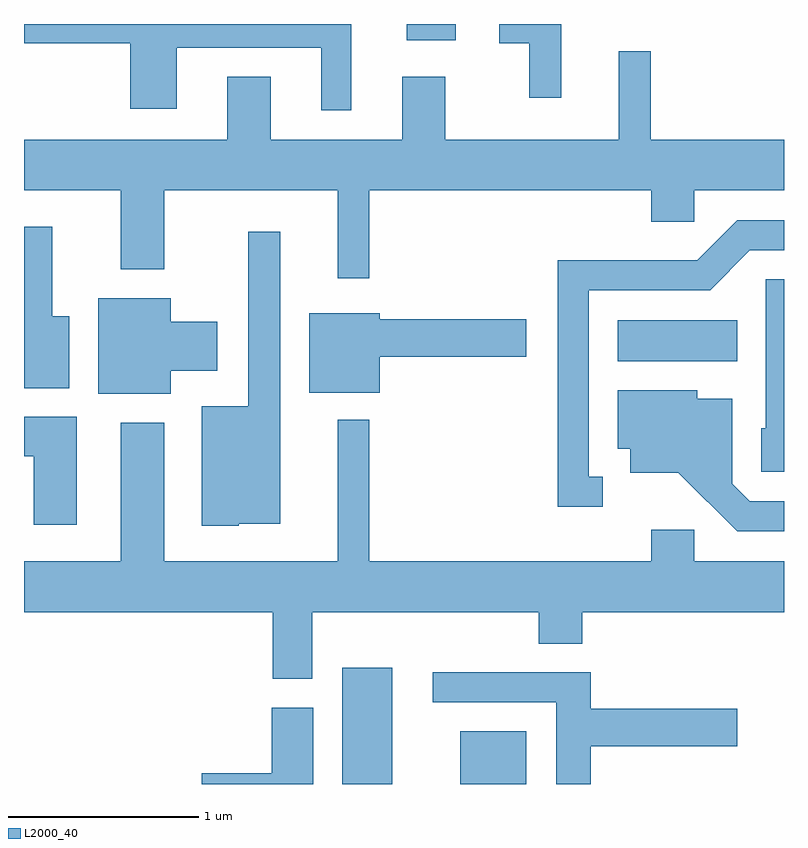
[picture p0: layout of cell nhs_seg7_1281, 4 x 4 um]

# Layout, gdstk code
import gdstk
lib = gdstk.Library(unit=1e-6, precision=1e-09)
def R(c, l, rs):  # rectangles x0, y0, x1, y1
    for r in rs: c.add(gdstk.rectangle(r[:2], r[2:], *l))
def P(c, l, *ps):  # polygons
    for p in ps: c.add(gdstk.Polygon(p, *l))
L2000_40 = (2000, 40)

nhs_seg7_1281 = lib.new_cell('nhs_seg7_1281')
R(nhs_seg7_1281, L2000_40, [(225.286,1762.252,225.549,1762.864), (225.906,1762.252,226.254,1762.529), (226.736,1764.476,227.364,1764.694)])
P(nhs_seg7_1281, L2000_40, [(225.884,1766.252),(225.486,1766.252),(225.486,1766.251),(225.626,1766.251),(225.626,1766.166),(225.884,1766.166)],
  [(225.334,1766.252),(223.611,1766.252),(223.611,1766.151),(224.171,1766.151),(224.171,1765.806),(224.414,1765.806),(224.414,1766.126),(225.176,1766.126),(225.176,1765.798),(225.334,1765.798)],
  [(226.439,1766.252),(226.111,1766.252),(226.111,1766.151),(226.271,1766.151),(226.271,1765.863),(226.439,1765.863)],
  [(225.429,1765.376),(226.911,1765.376),(226.911,1765.211),(227.139,1765.211),(227.139,1765.376),(227.611,1765.376),(227.611,1765.644),(226.909,1765.644),(226.909,1766.108),(226.741,1766.108),(226.741,1765.644),(225.829,1765.644),(225.829,1765.974),(225.601,1765.974),(225.601,1765.644),(224.909,1765.644),(224.909,1765.974),(224.681,1765.974),(224.681,1765.644),(223.611,1765.644),(223.611,1765.376),(224.121,1765.376),(224.121,1764.961),(224.349,1764.961),(224.349,1765.376),(225.261,1765.376),(225.261,1764.913),(225.429,1764.913)],
  [(226.658,1763.869),(226.584,1763.869),(226.584,1764.851),(227.222,1764.851),(227.432,1765.061),(227.611,1765.061),(227.611,1765.219),(227.364,1765.219),(227.154,1765.009),(226.421,1765.009),(226.421,1763.711),(226.658,1763.711)],
  [(223.849,1764.714),(223.759,1764.714),(223.759,1765.184),(223.611,1765.184),(223.611,1764.336),(223.849,1764.336)],
  [(224.74,1763.621),(224.959,1763.621),(224.959,1765.158),(224.791,1765.158),(224.791,1764.239),(224.546,1764.239),(224.546,1763.611),(224.74,1763.611)],
  [(227.611,1764.909),(227.516,1764.909),(227.516,1764.124),(227.491,1764.124),(227.491,1763.896),(227.611,1763.896)],
  [(224.384,1764.426),(224.629,1764.426),(224.629,1764.684),(224.384,1764.684),(224.384,1764.809),(224.001,1764.809),(224.001,1764.306),(224.384,1764.306)],
  [(225.484,1764.501),(226.254,1764.501),(226.254,1764.699),(225.484,1764.699),(225.484,1764.729),(225.111,1764.729),(225.111,1764.311),(225.484,1764.311)],
  [(227.611,1763.739),(227.432,1763.739),(227.339,1763.832),(227.339,1764.279),(227.154,1764.279),(227.154,1764.324),(226.736,1764.324),(226.736,1764.016),(226.801,1764.016),(226.801,1763.891),(227.054,1763.891),(227.364,1763.581),(227.611,1763.581)],
  [(223.889,1764.184),(223.611,1764.184),(223.611,1763.976),(223.661,1763.976),(223.661,1763.616),(223.889,1763.616)],
  [(225.129,1763.156),(226.321,1763.156),(226.321,1762.991),(226.549,1762.991),(226.549,1763.156),(227.611,1763.156),(227.611,1763.424),(227.139,1763.424),(227.139,1763.589),(226.911,1763.589),(226.911,1763.424),(225.429,1763.424),(225.429,1764.168),(225.261,1764.168),(225.261,1763.424),(224.349,1763.424),(224.349,1764.154),(224.121,1764.154),(224.121,1763.424),(223.611,1763.424),(223.611,1763.156),(224.921,1763.156),(224.921,1762.806),(225.129,1762.806)],
  [(226.594,1762.451),(227.364,1762.451),(227.364,1762.649),(226.594,1762.649),(226.594,1762.839),(225.763,1762.839),(225.763,1762.681),(226.411,1762.681),(226.411,1762.252),(226.594,1762.252)],
  [(225.134,1762.654),(224.916,1762.654),(224.916,1762.309),(224.546,1762.309),(224.546,1762.252),(225.134,1762.252)])

lib.write_gds('nhs_seg7_1281.gds')
